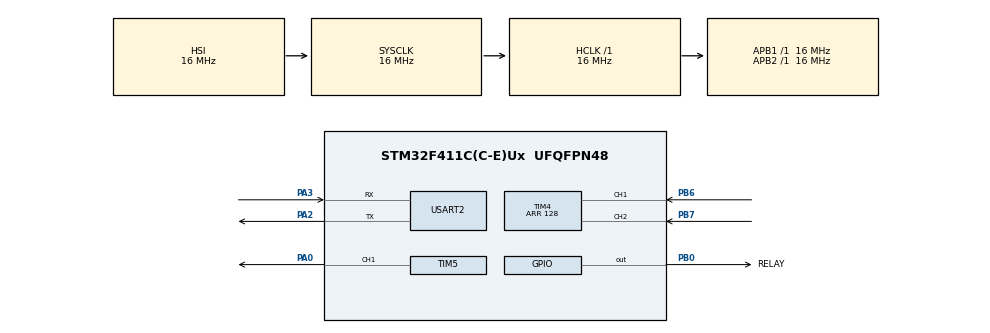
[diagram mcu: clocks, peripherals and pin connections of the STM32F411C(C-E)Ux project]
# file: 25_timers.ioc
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IWDG.Prescaler=IWDG_PRESCALER_8
Mcu.Family=STM32F4
Mcu.Name=STM32F411C(C-E)Ux
Mcu.Package=UFQFPN48
NVIC.PriorityGroup=NVIC_PRIORITYGROUP_4
NVIC.TIM2_IRQn=true\:0\:0\:false\:false\:true\:true\:true\:true
NVIC.TIM3_IRQn=true\:0\:0\:false\:false\:true\:true\:true\:true
PA0-WKUP.Signal=S_TIM5_CH1
PA13.Mode=Serial_Wire
PA13.Signal=SYS_JTMS-SWDIO
PA14.Mode=Serial_Wire
PA14.Signal=SYS_JTCK-SWCLK
PA2.Mode=Asynchronous
PA2.Signal=USART2_TX
PA3.Mode=Asynchronous
PA3.Signal=USART2_RX
PB0.GPIO_Label=RELAY
PB0.Signal=GPIO_Output
PB6.Signal=S_TIM4_CH1
PB7.Signal=S_TIM4_CH2
PH0\ -\ OSC_IN.Mode=HSE-External-Oscillator
PH0\ -\ OSC_IN.Signal=RCC_OSC_IN
PH1\ -\ OSC_OUT.Mode=HSE-External-Oscillator
PH1\ -\ OSC_OUT.Signal=RCC_OSC_OUT
ProjectManager.HeapSize=0x200
ProjectManager.StackSize=0x400
ProjectManager.TargetToolchain=STM32CubeIDE
RCC.48MHZClocksFreq_Value=48000000
RCC.AHBFreq_Value=16000000
RCC.APB1Freq_Value=16000000
RCC.APB1TimCLKDivider=1
RCC.APB1TimFreq_Value=16000000
RCC.APB2Freq_Value=16000000
RCC.APB2TimFreq_Value=16000000
RCC.CortexFreq_Value=16000000
RCC.HCLKFreq_Value=16000000
RCC.HSE_VALUE=25000000
RCC.HSI_VALUE=16000000
RCC.LSE_VALUE=32768
RCC.SYSCLKFreq_VALUE=16000000
RCC.VCOOutputFreq_Value=192000000
SH.S_TIM4_CH1.0=TIM4_CH1,Encoder_Interface
SH.S_TIM4_CH2.0=TIM4_CH2,Encoder_Interface
SH.S_TIM5_CH1.0=TIM5_CH1,PWM Generation1 CH1
TIM2.Period=30000 - 1
TIM2.Prescaler=16000 - 1
TIM3.Period=5000 - 1
TIM3.Prescaler=16000 - 1
TIM4.AutoReloadPreload=TIM_AUTORELOAD_PRELOAD_ENABLE
TIM4.EncoderMode=TIM_ENCODERMODE_TI12
TIM4.IC1Filter=10
TIM4.IC2Filter=10
TIM4.Period=128
TIM5.AutoReloadPreload=TIM_AUTORELOAD_PRELOAD_ENABLE
TIM5.Channel-PWM\ Generation1\ CH1=TIM_CHANNEL_1
TIM5.Period=128
USART2.VirtualMode=VM_ASYNC
VP_IWDG_VS_IWDG.Mode=IWDG_Activate
VP_TIM2_VS_ClockSourceINT.Mode=Internal
VP_TIM3_VS_ClockSourceINT.Mode=Internal
VP_TIM5_VS_ClockSourceINT.Mode=Internal
board=custom

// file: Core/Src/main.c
/* USER CODE BEGIN Header */
/**
 ******************************************************************************
 * @file           : main.c
 * @brief          : Main program body
 ******************************************************************************
 * @attention
 *
 * Copyright (c) 2026 STMicroelectronics.
 * All rights reserved.
 *
 * This software is licensed under terms that can be found in the LICENSE file
 * in the root directory of this software component.
 * If no LICENSE file comes with this software, it is provided AS-IS.
 *
 ******************************************************************************
 */
/* USER CODE END Header */
#include "main.h"

/* USER CODE BEGIN Includes */
#include "log.h"
#include "stm32f4xx_hal_rcc.h"
#include "stm32f4xx_hal_tim.h"
/* USER CODE END Includes */

/* USER CODE BEGIN PM */
#define CONFIG_TRIGGER_TIME_S 10
#define CONFIG_DURATION_ON_S 5
/* USER CODE END PM */

IWDG_HandleTypeDef hiwdg;

TIM_HandleTypeDef htim2;
TIM_HandleTypeDef htim3;
TIM_HandleTypeDef htim4;
TIM_HandleTypeDef htim5;

UART_HandleTypeDef huart2;

void SystemClock_Config(void);
static void MX_GPIO_Init(void);
static void MX_TIM2_Init(void);
static void MX_TIM3_Init(void);
static void MX_USART2_UART_Init(void);
static void MX_IWDG_Init(void);
static void MX_TIM4_Init(void);
static void MX_TIM5_Init(void);

/* USER CODE BEGIN 0 */
static uint32_t now = 0u;
static uint32_t last_wdg_update = 0u;
static volatile uint8_t timer_active_start = 0u;
static volatile uint8_t timer_active_end = 0u;

void HAL_TIM_PeriodElapsedCallback(TIM_HandleTypeDef* htim)
{
    if (htim->Instance == TIM2)
    {
        timer_active_start = 1u;
        // set relay on
        HAL_GPIO_WritePin(RELAY_GPIO_Port, RELAY_Pin, GPIO_PIN_RESET);
        HAL_TIM_Base_Start_IT(&htim3);
    }

    if (htim->Instance == TIM3)
    {
        timer_active_end = 1u;
        // set relay off
        HAL_GPIO_WritePin(RELAY_GPIO_Port, RELAY_Pin, GPIO_PIN_SET);
        HAL_TIM_Base_Stop_IT(&htim3);
    }
}

// Calculate ARR based on PSC, frequency and expected time
uint32_t timer_arr_calculate(const uint32_t time, const uint32_t psc, const uint32_t freq)
{
    return (uint32_t)((time * freq) / psc) - 1;
}

/* USER CODE END 0 */

int main(void)
{

    /* MCU Configuration--------------------------------------------------------*/

    /* Reset of all peripherals, Initializes the Flash interface and the Systick. */
    HAL_Init();

    /* Configure the system clock */
    SystemClock_Config();

    /* Initialize all configured peripherals */
    MX_GPIO_Init();
    MX_TIM2_Init();
    MX_TIM3_Init();
    MX_USART2_UART_Init();
    MX_IWDG_Init();
    MX_TIM4_Init();
    MX_TIM5_Init();
    /* USER CODE BEGIN 2 */
    log_init(&huart2);

    log_write("Board started...");
    __HAL_TIM_SET_AUTORELOAD(
        &htim2,
        timer_arr_calculate(CONFIG_TRIGGER_TIME_S, TIM2->PSC + 1, HAL_RCC_GetPCLK1Freq()));
    __HAL_TIM_SET_AUTORELOAD(
        &htim3,
        timer_arr_calculate(CONFIG_DURATION_ON_S, TIM3->PSC + 1, HAL_RCC_GetPCLK1Freq()));

    HAL_GPIO_WritePin(RELAY_GPIO_Port, RELAY_Pin, GPIO_PIN_SET);
    HAL_TIM_Base_Start_IT(&htim2);
    HAL_TIM_Encoder_Start(&htim4, TIM_CHANNEL_ALL);
    HAL_TIM_PWM_Start(&htim5, TIM_CHANNEL_1);
    uint32_t last_encoder_update = 0u;
    /* USER CODE END 2 */

    /* Infinite loop */
    /* USER CODE BEGIN WHILE */
    while (1)
    {
        now = HAL_GetTick();
        if ((uint32_t)(now - last_wdg_update) >= 15u)
        {
            HAL_IWDG_Refresh(&hiwdg);
            last_wdg_update = now;
        }

        if ((uint32_t)(now - last_encoder_update) >= 50u)
        {
            log_write("encoder value: %u", TIM4->CNT);
            last_encoder_update = now;
        }

        // set LED brightness from encoder value
        TIM5->CCR1 = TIM4->CNT;

        if (timer_active_start == 1u)
        {
            log_write("%u sec timer trigger", CONFIG_TRIGGER_TIME_S);
            timer_active_start = 0u;
        }

        if (timer_active_end == 1u)
        {
            log_write("%u sec timer trigger", CONFIG_DURATION_ON_S);
            timer_active_end = 0u;
        }

        /* USER CODE END WHILE */

    }
}

void SystemClock_Config(void)
{
    RCC_OscInitTypeDef RCC_OscInitStruct = {0};
    RCC_ClkInitTypeDef RCC_ClkInitStruct = {0};

    /** Configure the main internal regulator output voltage
     */
    __HAL_RCC_PWR_CLK_ENABLE();
    __HAL_PWR_VOLTAGESCALING_CONFIG(PWR_REGULATOR_VOLTAGE_SCALE1);

    /** Initializes the RCC Oscillators according to the specified parameters
     * in the RCC_OscInitTypeDef structure.
     */
    RCC_OscInitStruct.OscillatorType = RCC_OSCILLATORTYPE_HSI | RCC_OSCILLATORTYPE_LSI;
    RCC_OscInitStruct.HSIState = RCC_HSI_ON;
    RCC_OscInitStruct.HSICalibrationValue = RCC_HSICALIBRATION_DEFAULT;
    RCC_OscInitStruct.LSIState = RCC_LSI_ON;
    RCC_OscInitStruct.PLL.PLLState = RCC_PLL_NONE;
    if (HAL_RCC_OscConfig(&RCC_OscInitStruct) != HAL_OK)
    {
        Error_Handler();
    }

    /** Initializes the CPU, AHB and APB buses clocks
     */
    RCC_ClkInitStruct.ClockType =
        RCC_CLOCKTYPE_HCLK | RCC_CLOCKTYPE_SYSCLK | RCC_CLOCKTYPE_PCLK1 | RCC_CLOCKTYPE_PCLK2;
    RCC_ClkInitStruct.SYSCLKSource = RCC_SYSCLKSOURCE_HSI;
    RCC_ClkInitStruct.AHBCLKDivider = RCC_SYSCLK_DIV1;
    RCC_ClkInitStruct.APB1CLKDivider = RCC_HCLK_DIV1;
    RCC_ClkInitStruct.APB2CLKDivider = RCC_HCLK_DIV1;

    if (HAL_RCC_ClockConfig(&RCC_ClkInitStruct, FLASH_LATENCY_0) != HAL_OK)
    {
        Error_Handler();
    }
}

static void MX_IWDG_Init(void)
{

    hiwdg.Instance = IWDG;
    hiwdg.Init.Prescaler = IWDG_PRESCALER_8;
    hiwdg.Init.Reload = 4095;
    if (HAL_IWDG_Init(&hiwdg) != HAL_OK)
    {
        Error_Handler();
    }
}

static void MX_TIM2_Init(void)
{

    TIM_ClockConfigTypeDef sClockSourceConfig = {0};
    TIM_MasterConfigTypeDef sMasterConfig = {0};

    htim2.Instance = TIM2;
    htim2.Init.Prescaler = 16000 - 1;
    htim2.Init.CounterMode = TIM_COUNTERMODE_UP;
    htim2.Init.Period = 30000 - 1;
    htim2.Init.ClockDivision = TIM_CLOCKDIVISION_DIV1;
    htim2.Init.AutoReloadPreload = TIM_AUTORELOAD_PRELOAD_DISABLE;
    if (HAL_TIM_Base_Init(&htim2) != HAL_OK)
    {
        Error_Handler();
    }
    sClockSourceConfig.ClockSource = TIM_CLOCKSOURCE_INTERNAL;
    if (HAL_TIM_ConfigClockSource(&htim2, &sClockSourceConfig) != HAL_OK)
    {
        Error_Handler();
    }
    sMasterConfig.MasterOutputTrigger = TIM_TRGO_RESET;
    sMasterConfig.MasterSlaveMode = TIM_MASTERSLAVEMODE_DISABLE;
    if (HAL_TIMEx_MasterConfigSynchronization(&htim2, &sMasterConfig) != HAL_OK)
    {
        Error_Handler();
    }
}

static void MX_TIM3_Init(void)
{

    TIM_ClockConfigTypeDef sClockSourceConfig = {0};
    TIM_MasterConfigTypeDef sMasterConfig = {0};

    htim3.Instance = TIM3;
    htim3.Init.Prescaler = 16000 - 1;
    htim3.Init.CounterMode = TIM_COUNTERMODE_UP;
    htim3.Init.Period = 5000 - 1;
    htim3.Init.ClockDivision = TIM_CLOCKDIVISION_DIV1;
    htim3.Init.AutoReloadPreload = TIM_AUTORELOAD_PRELOAD_DISABLE;
    if (HAL_TIM_Base_Init(&htim3) != HAL_OK)
    {
        Error_Handler();
    }
    sClockSourceConfig.ClockSource = TIM_CLOCKSOURCE_INTERNAL;
    if (HAL_TIM_ConfigClockSource(&htim3, &sClockSourceConfig) != HAL_OK)
    {
        Error_Handler();
    }
    sMasterConfig.MasterOutputTrigger = TIM_TRGO_RESET;
    sMasterConfig.MasterSlaveMode = TIM_MASTERSLAVEMODE_DISABLE;
    if (HAL_TIMEx_MasterConfigSynchronization(&htim3, &sMasterConfig) != HAL_OK)
    {
        Error_Handler();
    }
}

static void MX_TIM4_Init(void)
{

    TIM_Encoder_InitTypeDef sConfig = {0};
    TIM_MasterConfigTypeDef sMasterConfig = {0};

    htim4.Instance = TIM4;
    htim4.Init.Prescaler = 0;
    htim4.Init.CounterMode = TIM_COUNTERMODE_UP;
    htim4.Init.Period = 128;
    htim4.Init.ClockDivision = TIM_CLOCKDIVISION_DIV1;
    htim4.Init.AutoReloadPreload = TIM_AUTORELOAD_PRELOAD_ENABLE;
    sConfig.EncoderMode = TIM_ENCODERMODE_TI12;
    sConfig.IC1Polarity = TIM_ICPOLARITY_RISING;
    sConfig.IC1Selection = TIM_ICSELECTION_DIRECTTI;
    sConfig.IC1Prescaler = TIM_ICPSC_DIV1;
    sConfig.IC1Filter = 10;
    sConfig.IC2Polarity = TIM_ICPOLARITY_RISING;
    sConfig.IC2Selection = TIM_ICSELECTION_DIRECTTI;
    sConfig.IC2Prescaler = TIM_ICPSC_DIV1;
    sConfig.IC2Filter = 10;
    if (HAL_TIM_Encoder_Init(&htim4, &sConfig) != HAL_OK)
    {
        Error_Handler();
    }
    sMasterConfig.MasterOutputTrigger = TIM_TRGO_RESET;
    sMasterConfig.MasterSlaveMode = TIM_MASTERSLAVEMODE_DISABLE;
    if (HAL_TIMEx_MasterConfigSynchronization(&htim4, &sMasterConfig) != HAL_OK)
    {
        Error_Handler();
    }
}

static void MX_TIM5_Init(void)
{

    TIM_ClockConfigTypeDef sClockSourceConfig = {0};
    TIM_MasterConfigTypeDef sMasterConfig = {0};
    TIM_OC_InitTypeDef sConfigOC = {0};

    htim5.Instance = TIM5;
    htim5.Init.Prescaler = 0;
    htim5.Init.CounterMode = TIM_COUNTERMODE_UP;
    htim5.Init.Period = 128;
    htim5.Init.ClockDivision = TIM_CLOCKDIVISION_DIV1;
    htim5.Init.AutoReloadPreload = TIM_AUTORELOAD_PRELOAD_ENABLE;
    if (HAL_TIM_Base_Init(&htim5) != HAL_OK)
    {
        Error_Handler();
    }
    sClockSourceConfig.ClockSource = TIM_CLOCKSOURCE_INTERNAL;
    if (HAL_TIM_ConfigClockSource(&htim5, &sClockSourceConfig) != HAL_OK)
    {
        Error_Handler();
    }
    if (HAL_TIM_PWM_Init(&htim5) != HAL_OK)
    {
        Error_Handler();
    }
    sMasterConfig.MasterOutputTrigger = TIM_TRGO_RESET;
    sMasterConfig.MasterSlaveMode = TIM_MASTERSLAVEMODE_DISABLE;
    if (HAL_TIMEx_MasterConfigSynchronization(&htim5, &sMasterConfig) != HAL_OK)
    {
        Error_Handler();
    }
    sConfigOC.OCMode = TIM_OCMODE_PWM1;
    sConfigOC.Pulse = 0;
    sConfigOC.OCPolarity = TIM_OCPOLARITY_HIGH;
    sConfigOC.OCFastMode = TIM_OCFAST_DISABLE;
    if (HAL_TIM_PWM_ConfigChannel(&htim5, &sConfigOC, TIM_CHANNEL_1) != HAL_OK)
    {
        Error_Handler();
    }
    HAL_TIM_MspPostInit(&htim5);
}

static void MX_USART2_UART_Init(void)
{

    huart2.Instance = USART2;
    huart2.Init.BaudRate = 115200;
    huart2.Init.WordLength = UART_WORDLENGTH_8B;
    huart2.Init.StopBits = UART_STOPBITS_1;
    huart2.Init.Parity = UART_PARITY_NONE;
    huart2.Init.Mode = UART_MODE_TX_RX;
    huart2.Init.HwFlowCtl = UART_HWCONTROL_NONE;
    huart2.Init.OverSampling = UART_OVERSAMPLING_16;
    if (HAL_UART_Init(&huart2) != HAL_OK)
    {
        Error_Handler();
    }
}

static void MX_GPIO_Init(void)
{
    GPIO_InitTypeDef GPIO_InitStruct = {0};

    /* GPIO Ports Clock Enable */
    __HAL_RCC_GPIOH_CLK_ENABLE();
    __HAL_RCC_GPIOA_CLK_ENABLE();
    __HAL_RCC_GPIOB_CLK_ENABLE();

    /*Configure GPIO pin Output Level */
    HAL_GPIO_WritePin(RELAY_GPIO_Port, RELAY_Pin, GPIO_PIN_RESET);

    /*Configure GPIO pin : RELAY_Pin */
    GPIO_InitStruct.Pin = RELAY_Pin;
    GPIO_InitStruct.Mode = GPIO_MODE_OUTPUT_PP;
    GPIO_InitStruct.Pull = GPIO_NOPULL;
    GPIO_InitStruct.Speed = GPIO_SPEED_FREQ_LOW;
    HAL_GPIO_Init(RELAY_GPIO_Port, &GPIO_InitStruct);

}

void Error_Handler(void)
{
    __disable_irq();
    while (1)
    {
    }
}
#ifdef USE_FULL_ASSERT
/**
 * @brief  Reports the name of the source file and the source line number
 *         where the assert_param error has occurred.
 * @param  file: pointer to the source file name
 * @param  line: assert_param error line source number
 * @retval None
 */
void assert_failed(uint8_t* file, uint32_t line)
{
    /* USER CODE BEGIN 6 */
    /* User can add his own implementation to report the file name and line number,
       printf("Wrong parameters value: file %s on line %d\r\n", file, line) */
    /* USER CODE END 6 */
}
#endif /* USE_FULL_ASSERT */
